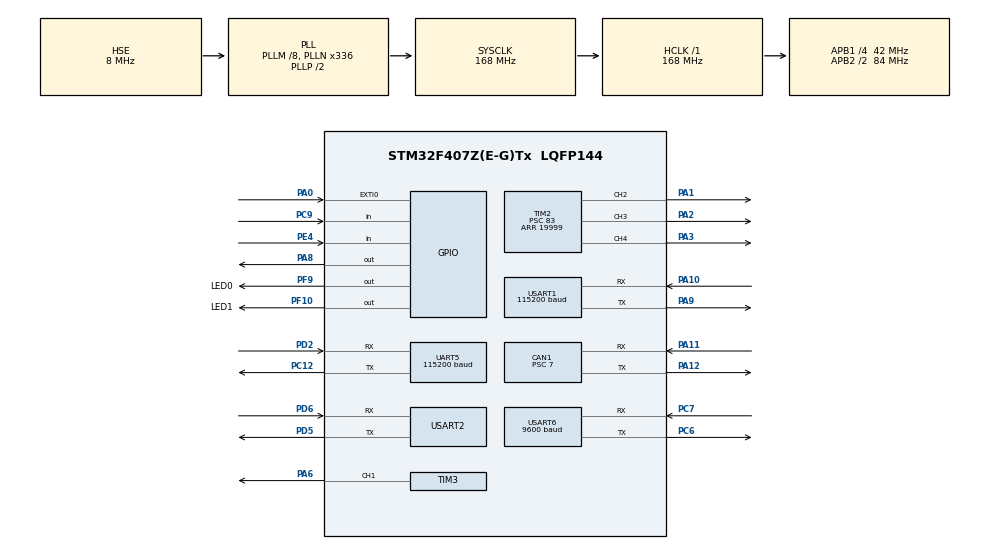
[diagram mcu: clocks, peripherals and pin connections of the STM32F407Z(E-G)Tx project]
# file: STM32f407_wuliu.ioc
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CAN1.BS1=CAN_BS1_9TQ
CAN1.BS2=CAN_BS2_2TQ
CAN1.CalculateBaudRate=499999
CAN1.CalculateTimeBit=2000
CAN1.CalculateTimeQuantum=166.66666666666669
CAN1.NART=ENABLE
CAN1.Prescaler=7
Mcu.Family=STM32F4
Mcu.Name=STM32F407Z(E-G)Tx
Mcu.Package=LQFP144
NVIC.CAN1_RX0_IRQn=true\:3\:0\:true\:false\:true\:true\:true\:true
NVIC.PriorityGroup=NVIC_PRIORITYGROUP_4
NVIC.TIM2_IRQn=true\:1\:0\:true\:false\:true\:true\:true\:true
NVIC.TIM4_IRQn=true\:0\:0\:false\:false\:true\:true\:true\:true
NVIC.TIM5_IRQn=true\:3\:0\:true\:false\:true\:true\:true\:true
NVIC.UART5_IRQn=true\:0\:0\:false\:false\:true\:true\:true\:true
NVIC.USART1_IRQn=true\:0\:0\:false\:false\:true\:true\:true\:true
NVIC.USART2_IRQn=true\:0\:0\:false\:false\:true\:true\:true\:true
NVIC.USART6_IRQn=true\:0\:0\:false\:false\:true\:true\:true\:true
PA0-WKUP.GPIO_PuPd=GPIO_PULLDOWN
PA0-WKUP.Signal=GPXTI0
PA1.Signal=S_TIM2_CH2
PA10.Mode=Asynchronous
PA10.Signal=USART1_RX
PA11.GPIO_PuPd=GPIO_PULLUP
PA11.Mode=CAN_Activate
PA11.Signal=CAN1_RX
PA12.Mode=CAN_Activate
PA12.Signal=CAN1_TX
PA13.Mode=Serial_Wire
PA13.Signal=SYS_JTMS-SWDIO
PA14.Mode=Serial_Wire
PA14.Signal=SYS_JTCK-SWCLK
PA2.Signal=S_TIM2_CH3
PA3.Signal=S_TIM2_CH4
PA6.Signal=S_TIM3_CH1
PA8.Signal=GPIO_Output
PA9.Mode=Asynchronous
PA9.Signal=USART1_TX
PC12.GPIO_PuPd=GPIO_PULLUP
PC12.Mode=Asynchronous
PC12.Signal=UART5_TX
PC6.GPIO_PuPd=GPIO_PULLUP
PC6.Mode=Asynchronous
PC6.Signal=USART6_TX
PC7.GPIO_PuPd=GPIO_PULLUP
PC7.Mode=Asynchronous
PC7.Signal=USART6_RX
PC9.GPIO_PuPd=GPIO_PULLUP
PC9.Signal=GPIO_Input
PD2.GPIO_PuPd=GPIO_PULLUP
PD2.Mode=Asynchronous
PD2.Signal=UART5_RX
PD5.GPIO_PuPd=GPIO_PULLUP
PD5.Mode=Asynchronous
PD5.Signal=USART2_TX
PD6.GPIO_PuPd=GPIO_PULLUP
PD6.Mode=Asynchronous
PD6.Signal=USART2_RX
PE4.Signal=GPIO_Input
PF10.GPIO_Label=LED1
PF10.GPIO_PuPd=GPIO_PULLUP
PF10.Signal=GPIO_Output
PF9.GPIO_Label=LED0
PF9.Signal=GPIO_Output
PH0-OSC_IN.Mode=HSE-External-Oscillator
PH0-OSC_IN.Signal=RCC_OSC_IN
PH1-OSC_OUT.Mode=HSE-External-Oscillator
PH1-OSC_OUT.Signal=RCC_OSC_OUT
ProjectManager.HeapSize=0x200
ProjectManager.StackSize=0x400
ProjectManager.TargetToolchain=CMake
RCC.48MHZClocksFreq_Value=84000000
RCC.AHBFreq_Value=168000000
RCC.APB1CLKDivider=RCC_HCLK_DIV4
RCC.APB1Freq_Value=42000000
RCC.APB1TimFreq_Value=84000000
RCC.APB2CLKDivider=RCC_HCLK_DIV2
RCC.APB2Freq_Value=84000000
RCC.APB2TimFreq_Value=168000000
RCC.CortexFreq_Value=168000000
RCC.EnbaleCSS=true
RCC.HCLKFreq_Value=168000000
RCC.HSE_VALUE=8000000
RCC.HSI_VALUE=16000000
RCC.LSE_VALUE=32768
RCC.PLLM=8
RCC.PLLN=336
RCC.PLLSourceVirtual=RCC_PLLSOURCE_HSE
RCC.SYSCLKFreq_VALUE=168000000
RCC.SYSCLKSource=RCC_SYSCLKSOURCE_PLLCLK
RCC.VCOOutputFreq_Value=336000000
SH.S_TIM2_CH2.0=TIM2_CH2,PWM Generation2 CH2
SH.S_TIM2_CH3.0=TIM2_CH3,PWM Generation3 CH3
SH.S_TIM2_CH4.0=TIM2_CH4,PWM Generation4 CH4
SH.S_TIM3_CH1.0=TIM3_CH1,PWM Generation1 CH1
TIM2.Channel-PWM\ Generation2\ CH2=TIM_CHANNEL_2
TIM2.Channel-PWM\ Generation3\ CH3=TIM_CHANNEL_3
TIM2.Channel-PWM\ Generation4\ CH4=TIM_CHANNEL_4
TIM2.Period=19999
TIM2.Prescaler=83
TIM2.Pulse-PWM\ Generation2\ CH2=520
TIM2.Pulse-PWM\ Generation3\ CH3=648
TIM2.Pulse-PWM\ Generation4\ CH4=838
TIM3.Channel-PWM\ Generation1\ CH1=TIM_CHANNEL_1
TIM3.Period=1999
TIM3.Prescaler=83
TIM4.Period=4999
TIM4.Prescaler=839
TIM5.Period=49999
TIM5.Prescaler=839
UART5.BaudRate=115200
UART5.VirtualMode=Asynchronous
USART1.BaudRate=115200
USART1.VirtualMode=VM_ASYNC
USART2.VirtualMode=VM_ASYNC
USART6.BaudRate=9600
USART6.VirtualMode=VM_ASYNC
VP_TIM2_VS_ClockSourceINT.Mode=Internal
VP_TIM3_VS_ClockSourceINT.Mode=Internal
VP_TIM4_VS_ClockSourceINT.Mode=Internal
VP_TIM5_VS_ClockSourceINT.Mode=Internal
VP_TIM6_VS_ClockSourceINT.Mode=Enable_Timer
board=custom

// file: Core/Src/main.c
/* USER CODE BEGIN Header */
/**
  ******************************************************************************
  * @file           : main.c
  * @brief          : Main program body
  ******************************************************************************
  * @attention
  *
  * Copyright (c) 2026 STMicroelectronics.
  * All rights reserved.
  *
  * This software is licensed under terms that can be found in the LICENSE file
  * in the root directory of this software component.
  * If no LICENSE file comes with this software, it is provided AS-IS.
  *
  ******************************************************************************
  */
/* USER CODE END Header */
#include "main.h"
#include "can.h"
#include "tim.h"
#include "usart.h"
#include "gpio.h"

/* USER CODE BEGIN Includes */
#include "host_proto.h"
#include "imu.h"
#include "race_chassis.h"
#include "race_io.h"
#include "race_task.h"
/* USER CODE END Includes */

void SystemClock_Config(void);

/* USER CODE BEGIN 0 */
static void boot_log(const char *s)
{
  uint16_t n = 0U;

  while (s[n] != '\0')
  {
    n++;
  }

  if (n != 0U)
  {
    (void)HAL_UART_Transmit(&DBG_UART, (uint8_t *)s, n, 100U);
  }
}

/* USER CODE END 0 */

int main(void)
{

  /* MCU Configuration--------------------------------------------------------*/

  /* Reset of all peripherals, Initializes the Flash interface and the Systick. */
  HAL_Init();

  /* Configure the system clock */
  SystemClock_Config();

  /* Initialize all configured peripherals */
  MX_GPIO_Init();
  MX_CAN1_Init();
  MX_TIM2_Init();
  MX_TIM3_Init();
  MX_TIM4_Init();
  MX_TIM6_Init();
  MX_UART5_Init();
  MX_USART1_UART_Init();
  MX_USART2_UART_Init();
  MX_USART6_UART_Init();
  MX_TIM5_Init();
  /* USER CODE BEGIN 2 */
  HAL_GPIO_WritePin(LED0_GPIO_Port, LED0_Pin, GPIO_PIN_RESET);
  HAL_GPIO_WritePin(LED1_GPIO_Port, LED1_Pin, GPIO_PIN_SET);

  boot_log("# BOOT race_chassis_init\r\n");
  host_init();
  race_chassis_init();
  race_wait_host_ready();
  race_wait_switch();
  /* USER CODE END 2 */

  /* Infinite loop */
  while (1)
  {

    /* USER CODE BEGIN 3 */
    race_task_run();
  }
  /* USER CODE END 3 */
}

void SystemClock_Config(void)
{
  RCC_OscInitTypeDef RCC_OscInitStruct = {0};
  RCC_ClkInitTypeDef RCC_ClkInitStruct = {0};

  /** Configure the main internal regulator output voltage
  */
  __HAL_RCC_PWR_CLK_ENABLE();
  __HAL_PWR_VOLTAGESCALING_CONFIG(PWR_REGULATOR_VOLTAGE_SCALE1);

  /** Initializes the RCC Oscillators according to the specified parameters
  * in the RCC_OscInitTypeDef structure.
  */
  RCC_OscInitStruct.OscillatorType = RCC_OSCILLATORTYPE_HSE;
  RCC_OscInitStruct.HSEState = RCC_HSE_ON;
  RCC_OscInitStruct.PLL.PLLState = RCC_PLL_ON;
  RCC_OscInitStruct.PLL.PLLSource = RCC_PLLSOURCE_HSE;
  RCC_OscInitStruct.PLL.PLLM = 8;
  RCC_OscInitStruct.PLL.PLLN = 336;
  RCC_OscInitStruct.PLL.PLLP = RCC_PLLP_DIV2;
  RCC_OscInitStruct.PLL.PLLQ = 4;
  if (HAL_RCC_OscConfig(&RCC_OscInitStruct) != HAL_OK)
  {
    Error_Handler();
  }

  /** Initializes the CPU, AHB and APB buses clocks
  */
  RCC_ClkInitStruct.ClockType = RCC_CLOCKTYPE_HCLK|RCC_CLOCKTYPE_SYSCLK
                              |RCC_CLOCKTYPE_PCLK1|RCC_CLOCKTYPE_PCLK2;
  RCC_ClkInitStruct.SYSCLKSource = RCC_SYSCLKSOURCE_PLLCLK;
  RCC_ClkInitStruct.AHBCLKDivider = RCC_SYSCLK_DIV1;
  RCC_ClkInitStruct.APB1CLKDivider = RCC_HCLK_DIV4;
  RCC_ClkInitStruct.APB2CLKDivider = RCC_HCLK_DIV2;

  if (HAL_RCC_ClockConfig(&RCC_ClkInitStruct, FLASH_LATENCY_5) != HAL_OK)
  {
    Error_Handler();
  }

  /** Enables the Clock Security System
  */
  HAL_RCC_EnableCSS();
}

/* USER CODE BEGIN 4 */
void HAL_UART_RxCpltCallback(UART_HandleTypeDef *huart)
{
  if (huart == &HOST_UART)
  {
    host_isr_rx_cplt();
  }
  else if (huart == &huart2)
  {
    imu_uart2_rx_cplt();
  }
}

void HAL_CAN_RxFifo0MsgPendingCallback(CAN_HandleTypeDef *hcan)
{
  race_chassis_can_rx_callback(hcan);
}

void HAL_TIM_PeriodElapsedCallback(TIM_HandleTypeDef *htim)
{
  if (htim == &htim4)
  {
    race_chassis_tim4_callback();
  }
}

/* USER CODE END 4 */

void Error_Handler(void)
{
  __disable_irq();
  while (1)
  {
  }
}
#ifdef USE_FULL_ASSERT
/**
  * @brief  Reports the name of the source file and the source line number
  *         where the assert_param error has occurred.
  * @param  file: pointer to the source file name
  * @param  line: assert_param error line source number
  * @retval None
  */
void assert_failed(uint8_t *file, uint32_t line)
{
  /* USER CODE BEGIN 6 */
  /* User can add his own implementation to report the file name and line number,
     ex: printf("Wrong parameters value: file %s on line %d\r\n", file, line) */
  (void)file;
  (void)line;
  /* USER CODE END 6 */
}
#endif /* USE_FULL_ASSERT */
